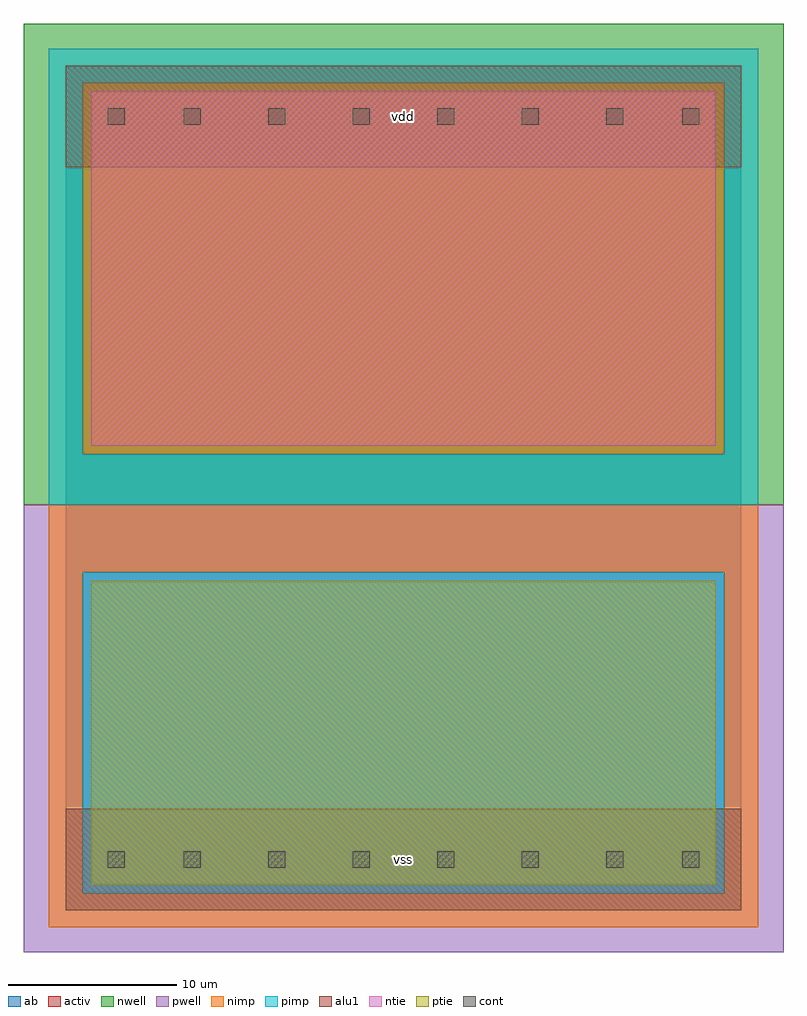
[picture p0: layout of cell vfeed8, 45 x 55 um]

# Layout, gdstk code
import gdstk
lib = gdstk.Library(unit=1e-6, precision=1e-09)
def R(c, l, rs):  # rectangles x0, y0, x1, y1
    for r in rs: c.add(gdstk.rectangle(r[:2], r[2:], *l))
def A(c, l, x, y, w, h, nx, ny, dx, dy):  # array of equal rectangles
    R(c, l, [(x+i*dx, y+j*dy, x+i*dx+w, y+j*dy+h) for i in range(nx) for j in range(ny)])
ntie = (5, 0)
ptie = (6, 0)
cont = (25, 0)
pwell = (41, 0)
nwell = (42, 0)
activ = (43, 0)
pimp = (44, 0)
nimp = (45, 0)
alu1 = (49, 0)
ab = (63, 0)

vfeed8 = lib.new_cell('vfeed8')
R(vfeed8, ntie, [(1.5,27.5,38.5,48.5)])
R(vfeed8, ptie, [(1.5,1.5,38.5,19.5)])
A(vfeed8, cont, 7, 2.5, 1, 1, 6, 2, 5, 44)
R(vfeed8, cont, [(2.5,2.5,3.5,3.5), (36.5,2.5,37.5,3.5), (2.5,46.5,3.5,47.5), (36.5,46.5,37.5,47.5)])
R(vfeed8, pwell, [(-2.5,-2.5,42.5,24)])
R(vfeed8, nwell, [(-2.5,24,42.5,52.5)])
R(vfeed8, activ, [(1.5,1.5,38.5,19.5), (1.5,27.5,38.5,48.5)])
R(vfeed8, pimp, [(1,1,39,20), (-1,24,41,27), (-1,27,1,49), (39,27,41,49), (-1,49,41,51)])
R(vfeed8, nimp, [(-1,-1,41,1), (-1,1,1,20), (39,1,41,20), (-1,20,41,24), (1,27,39,49)])
R(vfeed8, alu1, [(0,0,40,6), (0,0,40,6), (0,44,40,50), (0,44,40,50)])
R(vfeed8, ab, [(0,0,40,50)])
vfeed8.add(gdstk.Label('vss', (20,3), layer=49, texttype=0))
vfeed8.add(gdstk.Label('vdd', (20,47), layer=49, texttype=0))

lib.write_gds('vfeed8.gds')
